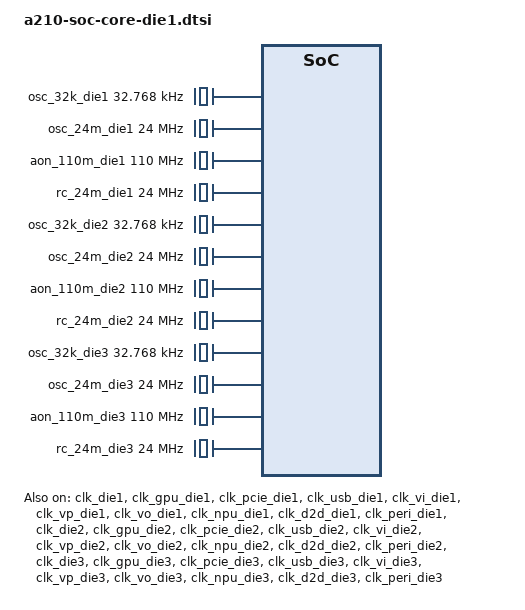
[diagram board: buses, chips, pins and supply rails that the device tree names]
/* SPDX-License-Identifier: GPL-2.0 */
/*
 * Copyright (C) 2021 Alibaba Group Holding Limited.
 */

#include <dt-bindings/thermal/thermal.h>

/ {
	#address-cells = <2>;
	#size-cells = <2>;

	cpus: cpus {
		#address-cells = <1>;
		#size-cells = <0>;
		timebase-frequency = <24000000>; /*24M*/
		c908_8: cpu@8 {
			status = "okay";
			device_type = "cpu";
			reg = <8>;
			compatible = "riscv";
			riscv,isa-base = "rv64i";
			riscv,isa-extensions = "i", "m", "a", "f", "d", "c", "v", "svpbmt", "sscofpmf";
			mmu-type = "riscv,sv39";
			cpu-freq = "2Ghz";
			i-cache-block-size = <64>;
			i-cache-size = <32768>;
			i-cache-sets = <256>;
			d-cache-block-size = <64>;
			d-cache-size = <32768>;
			d-cache-sets = <256>;
			next-level-cache = <&c2_l2_cache>;
			cpu-tlb = "1024 4-ways";
			cpu-vector = "1.0";
			capacity-dmips-mhz = <768>;
			#cooling-cells = <2>;
			numa-node-id = <1>;
			cpu8_intc: interrupt-controller {
				#interrupt-cells = <1>;
				compatible = "riscv,cpu-intc";
				interrupt-controller;
			};
		};
		c908_9: cpu@9 {
			status = "okay";
			device_type = "cpu";
			reg = <9>;
			compatible = "riscv";
			riscv,isa-base = "rv64i";
			riscv,isa-extensions = "i", "m", "a", "f", "d", "c", "v", "svpbmt", "sscofpmf";
			mmu-type = "riscv,sv39";
			cpu-freq = "2Ghz";
			i-cache-block-size = <64>;
			i-cache-size = <32768>;
			i-cache-sets = <256>;
			d-cache-block-size = <64>;
			d-cache-size = <32768>;
			d-cache-sets = <256>;
			next-level-cache = <&c2_l2_cache>;
			cpu-tlb = "1024 4-ways";
			cpu-vector = "1.0";
			capacity-dmips-mhz = <768>;
			#cooling-cells = <2>;
			numa-node-id = <1>;
			cpu9_intc: interrupt-controller {
				#interrupt-cells = <1>;
				compatible = "riscv,cpu-intc";
				interrupt-controller;
			};
		};
		c908_10: cpu@10 {
			status = "okay";
			device_type = "cpu";
			reg = <10>;
			compatible = "riscv";
			riscv,isa-base = "rv64i";
			riscv,isa-extensions = "i", "m", "a", "f", "d", "c", "v", "svpbmt", "sscofpmf";
			mmu-type = "riscv,sv39";
			cpu-freq = "2Ghz";
			i-cache-block-size = <64>;
			i-cache-size = <32768>;
			i-cache-sets = <256>;
			d-cache-block-size = <64>;
			d-cache-size = <32768>;
			d-cache-sets = <256>;
			next-level-cache = <&c2_l2_cache>;
			cpu-tlb = "1024 4-ways";
			cpu-vector = "1.0";
			capacity-dmips-mhz = <768>;
			#cooling-cells = <2>;
			numa-node-id = <1>;
			cpu10_intc: interrupt-controller {
				#interrupt-cells = <1>;
				compatible = "riscv,cpu-intc";
				interrupt-controller;
			};
		};
		c908_11: cpu@11 {
			status = "okay";
			device_type = "cpu";
			reg = <11>;
			compatible = "riscv";
			riscv,isa-base = "rv64i";
			riscv,isa-extensions = "i", "m", "a", "f", "d", "c", "v", "svpbmt", "sscofpmf";
			mmu-type = "riscv,sv39";
			cpu-freq = "2Ghz";
			i-cache-block-size = <64>;
			i-cache-size = <32768>;
			i-cache-sets = <256>;
			d-cache-block-size = <64>;
			d-cache-size = <32768>;
			d-cache-sets = <256>;
			next-level-cache = <&c2_l2_cache>;
			cpu-l2cache = "512KB";
			cpu-tlb = "1024 4-ways";
			cpu-vector = "1.0";
			capacity-dmips-mhz = <768>;
			#cooling-cells = <2>;
			numa-node-id = <1>;
			cpu11_intc: interrupt-controller {
				#interrupt-cells = <1>;
				compatible = "riscv,cpu-intc";
				interrupt-controller;
			};
		};

		c920_12: cpu@12 {
			status = "okay";
			device_type = "cpu";
			reg = <12>;
			compatible = "riscv";
			riscv,isa-base = "rv64i";
			riscv,isa-extensions = "i", "m", "a", "f", "d", "c", "v", "svpbmt", "sscofpmf";
			mmu-type = "riscv,sv39";
			cpu-freq = "2.6Ghz";
			cpu-l2cache = "512KB";
			i-cache-block-size = <64>;
			i-cache-size = <65536>;
			i-cache-sets = <512>;
			d-cache-block-size = <64>;
			d-cache-size = <65536>;
			d-cache-sets = <512>;
			next-level-cache = <&c3_l2_cache>;
			cpu-tlb = "1024 4-ways";
			cpu-vector = "1.0";
			capacity-dmips-mhz = <1024>;
			#cooling-cells = <2>;
			numa-node-id = <1>;
			cpu12_intc: interrupt-controller {
				#interrupt-cells = <1>;
				compatible = "riscv,cpu-intc";
				interrupt-controller;
			};
		};
		c920_13: cpu@13 {
			status = "okay";
			device_type = "cpu";
			reg = <13>;
			compatible = "riscv";
			riscv,isa-base = "rv64i";
			riscv,isa-extensions = "i", "m", "a", "f", "d", "c", "v", "svpbmt", "sscofpmf";
			mmu-type = "riscv,sv39";
			cpu-freq = "2.6Ghz";
			i-cache-block-size = <64>;
			i-cache-size = <65536>;
			i-cache-sets = <512>;
			d-cache-block-size = <64>;
			d-cache-size = <65536>;
			d-cache-sets = <512>;
			next-level-cache = <&c3_l2_cache>;
			cpu-tlb = "1024 4-ways";
			cpu-vector = "1.0";
			capacity-dmips-mhz = <1024>;
			#cooling-cells = <2>;
			numa-node-id = <1>;
			cpu13_intc: interrupt-controller {
				#interrupt-cells = <1>;
				compatible = "riscv,cpu-intc";
				interrupt-controller;
			};
		};
		c920_14: cpu@14 {
			status = "okay";
			device_type = "cpu";
			reg = <14>;
			compatible = "riscv";
			riscv,isa-base = "rv64i";
			riscv,isa-extensions = "i", "m", "a", "f", "d", "c", "v", "svpbmt", "sscofpmf";
			mmu-type = "riscv,sv39";
			cpu-freq = "2.6Ghz";
			i-cache-block-size = <64>;
			i-cache-size = <65536>;
			i-cache-sets = <512>;
			d-cache-block-size = <64>;
			d-cache-size = <65536>;
			d-cache-sets = <512>;
			next-level-cache = <&c3_l2_cache>;
			cpu-tlb = "1024 4-ways";
			cpu-vector = "1.0";
			capacity-dmips-mhz = <1024>;
			#cooling-cells = <2>;
			numa-node-id = <1>;
			cpu14_intc: interrupt-controller {
				#interrupt-cells = <1>;
				compatible = "riscv,cpu-intc";
				interrupt-controller;
			};
		};
		c920_15: cpu@15 {
			status = "okay";
			device_type = "cpu";
			reg = <15>;
			compatible = "riscv";
			riscv,isa-base = "rv64i";
			riscv,isa-extensions = "i", "m", "a", "f", "d", "c", "v", "svpbmt", "sscofpmf";
			mmu-type = "riscv,sv39";
			cpu-freq = "2.6Ghz";
			i-cache-block-size = <64>;
			i-cache-size = <65536>;
			i-cache-sets = <512>;
			d-cache-block-size = <64>;
			d-cache-size = <65536>;
			d-cache-sets = <512>;
			next-level-cache = <&c3_l2_cache>;
			cpu-tlb = "1024 4-ways";
			cpu-vector = "1.0";
			capacity-dmips-mhz = <1024>;
			#cooling-cells = <2>;
			numa-node-id = <1>;
			cpu15_intc: interrupt-controller {
				#interrupt-cells = <1>;
				compatible = "riscv,cpu-intc";
				interrupt-controller;
			};
		};

		c2_l2_cache: c2_l2-cache {
			compatible = "cache";
			cache-block-size = <64>;
			cache-level = <2>;
			cache-size = <524288>;
			cache-sets = <512>;
			cache-unified;
		};
		c3_l2_cache: c3_l2-cache {
			compatible = "cache";
			cache-block-size = <64>;
			cache-level = <2>;
			cache-size = <1048576>;
			cache-sets = <1024>;
			cache-unified;
		};

		cpu-map {
			cluster2 {
				core0 {
					cpu = <&c908_8>;
				};

				core1 {
					cpu = <&c908_9>;
				};

				core2 {
					cpu = <&c908_10>;
				};

				core3 {
					cpu = <&c908_11>;
				};
			};
			cluster3 {
				core0 {
					cpu = <&c920_12>;
				};

				core1 {
					cpu = <&c920_13>;
				};

				core2 {
					cpu = <&c920_14>;
				};

				core3 {
					cpu = <&c920_15>;
				};
			};
		};
	};

	soc {
		compatible = "simple-bus";
		#address-cells = <2>;
		#size-cells = <2>;
		ranges;

		/* OPENSBI */
		reset: reset-sample {
			compatible = "zhihe,reset-sample";
			reg = <0x00 0x00 0x00 0x00>;
			plic-delegate = <0x00 0x181ffffc>; /* PLIC_CTRL */
			plic1-delegate = <0x00 0x1a1ffffc>; /* PLIC_CTRL */
			entry-reg = <0x00 0x10148040 0x00 0x10148060 0x20 0x10148040 0x20 0x10148060>;	/* SYSREG set rst boot address*/
			entry-cnt = <4 4 4 4>;								/* The number of CPUs in each cluster */
			control-reg = <0x00 0x10144004 0x00 0x10144008 0x20 0x10144004 0x20 0x10144008 >;/* SWRST C908 C920*/
			control-val = <0x1f 0x1f 0x1f 0x1f>;	/* bit0:clust, bit1~4:core0~core3 */

			d2d-info = <&d2d>;
		};

		clint0: clint@001c000000 {
			compatible = "riscv,clint0";
			interrupts-extended = <
				&cpu0_intc  3 &cpu0_intc  7
				&cpu1_intc  3 &cpu1_intc  7
				&cpu2_intc  3 &cpu2_intc  7
				&cpu3_intc  3 &cpu3_intc  7
				&cpu4_intc  3 &cpu4_intc  7
				&cpu5_intc  3 &cpu5_intc  7
				&cpu6_intc  3 &cpu6_intc  7
				&cpu7_intc  3 &cpu7_intc  7
				&cpu8_intc  3 &cpu8_intc  7
				&cpu9_intc  3 &cpu9_intc  7
				&cpu10_intc  3 &cpu10_intc  7
				&cpu11_intc  3 &cpu11_intc  7
				&cpu12_intc  3 &cpu12_intc  7
				&cpu13_intc  3 &cpu13_intc  7
				&cpu14_intc  3 &cpu14_intc  7
				&cpu15_intc  3 &cpu15_intc  7
			>;
			reg = <0x00 0x1c000000 0x0 0x0000d000>;
			clint,has-no-64bit-mmio;
		};

		intc_die1: interrupt-controller1@001a000000 {
			#interrupt-cells = <1>;
			compatible = "riscv,plic1";
			interrupt-controller;
			interrupts-extended = <
				&cpu8_intc 0xffffffff &cpu8_intc 9
				&cpu9_intc 0xffffffff &cpu9_intc 9
				&cpu10_intc 0xffffffff &cpu10_intc 9
				&cpu11_intc 0xffffffff &cpu11_intc 9
				&cpu12_intc 0xffffffff &cpu12_intc 9
				&cpu13_intc 0xffffffff &cpu13_intc 9
				&cpu14_intc 0xffffffff &cpu14_intc 9
				&cpu15_intc 0xffffffff &cpu15_intc 9
			>;
			reg = <0x00 0x1a000000 0x0 0x02000000>;
			reg-names = "control";
			riscv,max-priority = <7>;
			riscv,ndev = <351>;
		};

		clocks1 {
			compatible = "simple-bus";
			#address-cells = <1>;
			#size-cells = <0>;

			osc_32k_die1: clock-osc-32k {
				compatible = "fixed-clock";
				clock-frequency = <32768>;
				clock-output-names = "osc_32k_die1";
				#clock-cells = <0>;
			};

			osc_24m_die1: clock-osc-24m {
				compatible = "fixed-clock";
				clock-frequency = <24000000>;
				clock-output-names = "osc_24m_die1";
				#clock-cells = <0>;
			};

			aon_110m_die1: clock-osc-110m {
				compatible = "fixed-clock";
				clock-frequency = <110000000>;
				clock-output-names = "aon_110m_die1";
				#clock-cells = <0>;
			};

			rc_24m_die1: clock-rc-24m {
				compatible = "fixed-clock";
				clock-frequency = <24000000>;
				clock-output-names = "rc_24m_die1";
				#clock-cells = <0>;
			};

			apb_clk_die1: apb-clk-clock {
				compatible = "fixed-clock";
				clock-frequency = <62500000>;
				clock-output-names = "apb_clk_die1";
				#clock-cells = <0>;
			};
		};

		clk_die1: clock-controller@10 {
			compatible = "zhihe,a210-clk-die1";
			reg = <0x20 0x00260000 0x0 0x1000>,<0x20 0x00250000 0x0 0x1000>,
			      <0x20 0x10141600 0x0 0x100>,<0x20 0x10141400 0x0 0x100>,
			      <0x20 0x04810000 0x0 0x1000>,<0x20 0x05810000 0x0 0x1000>,
			      <0x20 0x04900000 0x0 0x1000>,<0x20 0x20250000 0x0 0x1000>,
			      <0x20 0x10140000 0x0 0xE00>;
			reg-names = "PLL_WRAP","TOP_CRG","CPU_SS_CLK_SYSREG","CPU_SS_CPU_PLL",
			"DDR0_SYSREG","DDR1_SYSREG","SLC_DUAL_SYSREG","TOP_CRG_T","CPU_SS_CCU";
			#clock-cells = <1>;
			clocks = <&osc_32k_die1>, <&osc_24m_die1>, <&rc_24m_die1>;
			clock-names = "osc_32k", "osc_24m", "rc_24m";
			assigned-clocks = <&clk_die1 AUDIO0_PLL_FOUTVCO>, <&clk_die1 AUDIO1_PLL_FOUTVCO>,
					  <&clk_die1 VIDEO_PLL_FOUTVCO>, <&clk_die1 GMAC_PLL_FOUTVCO>,
					  <&clk_die1 DVFS_PLL_FOUTVCO>, <&clk_die1 DPU0_PLL_FOUTVCO>,
					  <&clk_die1 DPU1_PLL_FOUTVCO>, <&clk_die1 DPU2_PLL_FOUTVCO>,
					  <&clk_die1 TOP_CFG_ACLK_DIV>, <&clk_die1 TOP_PCLK_DIV>,
					  <&clk_die1 SW_AMUX_660_CLK_EN>, <&clk_die1 SW_IOMMU_PTW_330_ACLK_EN>,
					  <&clk_die1 SW_NOC_CCLK_EN>, <&clk_die1 TOP_CPUSYS_BUS_CLK_DIV>,
					  <&clk_die1 TOP_CPUSYS_PIC_CLK_DIV>;
			assigned-clock-rates = <2359296000>, <2528870400>, /* audio0_pll_foutvco,audio1_pll_foutvco */
					       <2640000000>, <3000000000>, /* video_pll_foutvco,gmac_pll_foutvco */
					       <1920000000>, <2376000000>, /* dvfs_pll_foutvco,dpu0_pll_foutvco */
					       <2376000000>, <2376000000>, /* dpu1_pll_foutvco,dpu2_pll_foutvco */
					       <330000000>, <165000000>, /* top_cfg_aclk,top_pclk */
					       <660000000>, <330000000>, /* top_amux_clk,iommu_ptw_aclk */
					       <950000000>, <1320000000>, /* noc_cclk,top_cpusys_bus_clk */
					       <1000000000>; /* top_cpusys_pic_clk */
			status = "okay";
		};
		clk_gpu_die1: clock-controller@11 {
			compatible = "zhihe,a210-gpu-clk-die1";
			reg = <0x20 0x06D02200 0x0 0x200>, <0x20 0x06E06200 0x0 0x200>;
			reg-names = "GPU_SS_PWRAP_CLK_EN","GPU_SS_TOP_CLK_EN";
			#clock-cells = <1>;
			assigned-clocks = <&clk_die1 TOP_GPU_CORE_CLK_DIV>;
			assigned-clock-rates = <792000000>;
			status = "okay";
		};

		clk_pcie_die1: clock-controller@12 {
			compatible = "zhihe,a210-pcie-clk-die1";
			reg = <0x20 0x0a000000 0x0 0x28>;
			reg-names = "PCIE_CLK_EN";
			#clock-cells = <1>;
			assigned-clocks = <&clk_die1 TOP_PCIE_SCAN_REF_CLK0_DIV>, <&clk_die1 TOP_PCIE_SCAN_REF_CLK1_DIV>,
					  <&clk_die1 TOP_PCIE_AXI_M_ACLK_DIV>;
			assigned-clock-rates = <396000000>, <1000000000>,
					       <786432000>;
			status = "okay";
		};

		clk_usb_die1: clock-controller@13 {
			compatible = "zhihe,a210-usb-clk-die1";
			reg = <0x20 0x08000000 0x0 0x24>;
			reg-names = "USB_CLK_EN";
			#clock-cells = <1>;
			assigned-clocks = <&clk_die1 TOP_USB_USB20_SCAN_REF_CLK_DIV>, <&clk_die1 TOP_USB_SCAN_REF_CLK3_DIV>,
					  <&clk_die1 TOP_USB_SCAN_REF_CLK2_DIV>, <&clk_die1 TOP_USB_SCAN_REF_CLK1_DIV>,
					  <&clk_die1 TOP_USB_SCAN_REF_CLK0_DIV>, <&clk_die1 TOP_USB_BUS_ACLK_DIV>,
					  <&clk_die1 TOP_USB_DP_AUX_CLK_DIV>;
			assigned-clock-rates = <475200000>, <792000000>,
					       <600000000>, <500000000>,
					       <396000000>, <330000000>,
					       <16000000>;
			status = "okay";
		};

		clk_vi_die1: clock-controller@14 {
			compatible = "zhihe,a210-vi-clk-die1";
			reg = <0x20 0x063a0200 0x0 0x200>;
			reg-names = "VI_CLK";
			#clock-cells = <1>;
			status = "okay";
		};

		clk_vp_die1: clock-controller@15 {
			compatible = "zhihe,a210-vp-clk-die1";
			reg = <0x20 0x06b20200 0x0 0x200>;
			reg-names = "VP_CLK";
			#clock-cells = <1>;
			assigned-clocks = <&clk_die1 TOP_VP_ACLK_DIV>, <&clk_die1 TOP_VP_VDEC_CCLK_DIV>,
				 	  <&clk_die1 TOP_VP_VENC_CCLK_DIV>, <&clk_die1 TOP_VP_G2D_CCLK_DIV>;
			assigned-clock-rates = <880000000>, <786432000>,
					       <600000000>, <786432000>;
			status = "okay";
		};

		clk_vo_die1: clock-controller@16 {
			compatible = "zhihe,a210-vo-clk-die1";
			reg = <0x20 0x06720048 0x0 0x4>, <0x20 0x06720200 0x0 0xc>;
			reg-names = "VO_PATH_CTRL","VO_CLK";
			#clock-cells = <1>;
			assigned-clocks = <&clk_vo_die1 VO_DPUC_CLK_EN>, <&clk_vo_die1 VO_CH0_PIXCLK_EN>,
					  <&clk_vo_die1 VO_CH1_PIXCLK_EN>, <&clk_vo_die1 VO_CH2_PIXCLK_EN>,
					  <&clk_vo_die1 VO_DPU_ACLK_EN>, <&clk_vo_die1 VO_HDMI_PCLK_EN>,
					  <&clk_vo_die1 VO_DECOMP0_CLK_EN>, <&clk_vo_die1 VO_DECOMP1_CLK_EN>;
			assigned-clock-rates = <880000000>, <594000000>,
					       <594000000>, <594000000>,
					       <880000000>, <165000000>,
					       <220000000>, <220000000>;
			status = "okay";
		};

		clk_npu_die1: clock-controller@17 {
			compatible = "zhihe,a210-npu-clk-die1";
			reg = <0x20 0x07112210 0x0 0x4>,<0x20 0x07301050 0x0 0x4>;
			reg-names = "NPU_CLK","NPU_TOP_CLK";
			#clock-cells = <1>;
			assigned-clocks = <&clk_die1 TOP_NPU_CCLK_DIV>, <&clk_die1 TOP_NPU_ACLK_DIV>;
			assigned-clock-rates = <880000000>, <880000000>;
			status = "okay";
		};

		clk_d2d_die1: clock-controller@18 {
			compatible = "zhihe,a210-d2d-clk-die1";
			reg = <0x20 0x09010000 0x0 0x4>;
			reg-names = "D2D_CRG_REG";
			#clock-cells = <1>;
			assigned-clocks = <&clk_die1 TOP_D2D_ACLK_DIV>, <&clk_die1 TOP_D2D_REF_CLK_MUX>;
			assigned-clock-rates = <950000000>, <100000000>;
			status = "okay";
		};

		clk_peri_die1: clock-controller@19 {
			compatible = "zhihe,a210-peri-clk-die1";
			reg = <0x20 0x00300200 0x0 0x4>,
			      <0x20 0x02010200 0x0 0x8>,<0x20 0x08400200 0x0 0x8>,
			      <0x20 0x00540200 0x0 0x4>,<0x20 0x27420200 0x0 0x200>;
			reg-names = "PERI0_SYSREG","PERI1_SYSREG","PERI2_SYSREG",
			"PERI3_SYSREG","TEE_CRG";
			#clock-cells = <1>;
			assigned-clocks = <&clk_die1 TOP_PERI_TIMER_CLK_MUX>, <&clk_die1 TOP_PERI_I2S_2CH0_SRC_CLK_MUX>,
					  <&clk_die1 TOP_PERI_I2S_2CH1_SRC_CLK_MUX>, <&clk_die1 TOP_PERI_I2S_2CH2_SRC_CLK_MUX>,
					  <&clk_die1 TOP_PERI_I2S_8CH0_SRC_CLK_MUX>, <&clk_die1 TOP_PERI_SPI_SSI_CLK0_DIV>,
					  <&clk_die1 TOP_PERI_SPI_SSI_CLK1_DIV>, <&clk_die1 TOP_PERI_QSPI_SSI_CLK_MUX0>,
					  <&clk_die1 TOP_PERI_QSPI_SSI_CLK_MUX1>, <&clk_die1 TOP_PERI_PDM_MCLK_DIV>,
					  <&clk_die1 TOP_PERI_TDM_SRC_CLK_MUX>, <&clk_die1 TOP_PAD_SENSOR_VCLK0_DIV>,
					  <&clk_die1 TOP_PAD_SENSOR_VCLK1_DIV>, <&clk_die1 TOP_PERI_HIRES_CLK0_DIV>,
					  <&clk_die1 TOP_PERI_HIRES_CLK1_DIV>, <&clk_die1 TOP_PERI_EMMC_REF_CLK_DIV>,
					  <&clk_die1 TOP_PERI_MST_ACLK0_DIV>, <&clk_die1 TOP_PERI_MST_CLK1_DIV>,
					  <&clk_die1 TOP_TEE_CLK_DIV>;
			assigned-clock-rates = <24000000>, <316108800>, /* peri0_timer_clk,peri1_i2s0_src_clk */
					       <316108800>, <316108800>, /* peri2_i2s1_src_clk,peri2_i2s2_src_clk */
					       <316108800>, <421478400>, /* peri2_i2s3_src_clk,peri1_spi_ssi_clk */
					       <421478400>, <421478400>, /* peri2_spi_ssi_clk,peri1_qspi_ssi_clk */
					       <421478400>, <31610880>, /* peri2_qspi_ssi_clk,peri1_pdm_mclk */
					       <316108800>, <74250000>, /* peri1_tdm_src_clk,top_pad_sensor_vclk0_div */
					       <148500000>, <80000000>, /* top_pad_sensor_vclk1,peri1_hires_clk */
					       <80000000>, <786432000>, /* peri2_hires_clk,emmc_ref_clk */
					       <330000000>, <440000000>, /* peri1_mst_aclk,peri3_mst_aclk */
					       <377142858>; /* tee_clk */
			status = "okay";
		};

		clocks2 {
			compatible = "simple-bus";
			#address-cells = <1>;
			#size-cells = <0>;

			osc_32k_die2: clock-osc-32k {
				compatible = "fixed-clock";
				clock-frequency = <32768>;
				clock-output-names = "osc_32k_die2";
				#clock-cells = <0>;
			};

			osc_24m_die2: clock-osc-24m {
				compatible = "fixed-clock";
				clock-frequency = <24000000>;
				clock-output-names = "osc_24m_die2";
				#clock-cells = <0>;
			};

			aon_110m_die2: clock-osc-110m {
				compatible = "fixed-clock";
				clock-frequency = <110000000>;
				clock-output-names = "aon_110m_die2";
				#clock-cells = <0>;
			};

			rc_24m_die2: clock-rc-24m {
				compatible = "fixed-clock";
				clock-frequency = <24000000>;
				clock-output-names = "rc_24m_die2";
				#clock-cells = <0>;
			};

			apb_clk_die2: apb-clk-clock {
				compatible = "fixed-clock";
				clock-frequency = <62500000>;
				clock-output-names = "apb_clk_die2";
				#clock-cells = <0>;
			};
		};

		clk_die2: clock-controller@20 {
			compatible = "zhihe,a210-clk-die2";
			reg = <0x40 0x00260000 0x0 0x1000>,<0x40 0x00250000 0x0 0x1000>,
			      <0x40 0x10141600 0x0 0x100>,<0x40 0x10141400 0x0 0x100>,
			      <0x40 0x04810000 0x0 0x1000>,<0x40 0x05810000 0x0 0x1000>,
			      <0x40 0x04900000 0x0 0x1000>,<0x40 0x20250000 0x0 0x1000>,
			      <0x40 0x10140000 0x0 0xE00>;
			reg-names = "PLL_WRAP","TOP_CRG","CPU_SS_CLK_SYSREG","CPU_SS_CPU_PLL",
			"DDR0_SYSREG","DDR1_SYSREG","SLC_DUAL_SYSREG","TOP_CRG_T","CPU_SS_CCU";
			#clock-cells = <1>;
			clocks = <&osc_32k_die2>, <&osc_24m_die2>, <&rc_24m_die2>;
			clock-names = "osc_32k", "osc_24m", "rc_24m";
			assigned-clocks = <&clk_die2 AUDIO0_PLL_FOUTVCO>, <&clk_die2 AUDIO1_PLL_FOUTVCO>,
					  <&clk_die2 VIDEO_PLL_FOUTVCO>, <&clk_die2 GMAC_PLL_FOUTVCO>,
					  <&clk_die2 DVFS_PLL_FOUTVCO>, <&clk_die2 DPU0_PLL_FOUTVCO>,
					  <&clk_die2 DPU1_PLL_FOUTVCO>, <&clk_die2 DPU2_PLL_FOUTVCO>,
					  <&clk_die2 TOP_CFG_ACLK_DIV>, <&clk_die2 TOP_PCLK_DIV>,
					  <&clk_die2 SW_AMUX_660_CLK_EN>, <&clk_die2 SW_IOMMU_PTW_330_ACLK_EN>,
					  <&clk_die2 SW_NOC_CCLK_EN>, <&clk_die2 TOP_CPUSYS_BUS_CLK_DIV>,
					  <&clk_die2 TOP_CPUSYS_PIC_CLK_DIV>;
			assigned-clock-rates = <2359296000>, <2528870400>, /* audio0_pll_foutvco,audio1_pll_foutvco */
					       <2640000000>, <3000000000>, /* video_pll_foutvco,gmac_pll_foutvco */
					       <1920000000>, <2376000000>, /* dvfs_pll_foutvco,dpu0_pll_foutvco */
					       <2376000000>, <2376000000>, /* dpu1_pll_foutvco,dpu2_pll_foutvco */
					       <330000000>, <165000000>, /* top_cfg_aclk,top_pclk */
					       <660000000>, <330000000>, /* top_amux_clk,iommu_ptw_aclk */
					       <950000000>, <1320000000>, /* noc_cclk,top_cpusys_bus_clk */
					       <1000000000>; /* top_cpusys_pic_clk */
			status = "okay";
		};
		clk_gpu_die2: clock-controller@21 {
			compatible = "zhihe,a210-gpu-clk-die2";
			reg = <0x40 0x06D02200 0x0 0x200>, <0x40 0x06E06200 0x0 0x200>;
			reg-names = "GPU_SS_PWRAP_CLK_EN","GPU_SS_TOP_CLK_EN";
			#clock-cells = <1>;
			assigned-clocks = <&clk_die2 TOP_GPU_CORE_CLK_DIV>;
			assigned-clock-rates = <792000000>;
			status = "okay";
		};

		clk_pcie_die2: clock-controller@22 {
			compatible = "zhihe,a210-pcie-clk-die2";
			reg = <0x40 0x0a000000 0x0 0x28>;
			reg-names = "PCIE_CLK_EN";
			#clock-cells = <1>;
			assigned-clocks = <&clk_die2 TOP_PCIE_SCAN_REF_CLK0_DIV>, <&clk_die2 TOP_PCIE_SCAN_REF_CLK1_DIV>,
					  <&clk_die2 TOP_PCIE_AXI_M_ACLK_DIV>;
			assigned-clock-rates = <396000000>, <1000000000>,
					       <786432000>;
			status = "okay";
		};

		clk_usb_die2: clock-controller@23 {
			compatible = "zhihe,a210-usb-clk-die2";
			reg = <0x40 0x08000000 0x0 0x24>;
			reg-names = "USB_CLK_EN";
			#clock-cells = <1>;
			assigned-clocks = <&clk_die2 TOP_USB_USB20_SCAN_REF_CLK_DIV>, <&clk_die2 TOP_USB_SCAN_REF_CLK3_DIV>,
					  <&clk_die2 TOP_USB_SCAN_REF_CLK2_DIV>, <&clk_die2 TOP_USB_SCAN_REF_CLK1_DIV>,
					  <&clk_die2 TOP_USB_SCAN_REF_CLK0_DIV>, <&clk_die2 TOP_USB_BUS_ACLK_DIV>,
					  <&clk_die2 TOP_USB_DP_AUX_CLK_DIV>;
			assigned-clock-rates = <475200000>, <792000000>,
					       <600000000>, <500000000>,
					       <396000000>, <330000000>,
					       <16000000>;
			status = "okay";
		};

		clk_vi_die2: clock-controller@24 {
			compatible = "zhihe,a210-vi-clk-die2";
			reg = <0x40 0x063a0200 0x0 0x200>;
			reg-names = "VI_CLK";
			#clock-cells = <1>;
			status = "okay";
		};

		clk_vp_die2: clock-controller@25 {
			compatible = "zhihe,a210-vp-clk-die2";
			reg = <0x40 0x06b20200 0x0 0x200>;
			reg-names = "VP_CLK";
			#clock-cells = <1>;
			assigned-clocks = <&clk_die2 TOP_VP_ACLK_DIV>, <&clk_die2 TOP_VP_VDEC_CCLK_DIV>,
				 	  <&clk_die2 TOP_VP_VENC_CCLK_DIV>, <&clk_die2 TOP_VP_G2D_CCLK_DIV>;
			assigned-clock-rates = <880000000>, <786432000>,
					       <600000000>, <786432000>;
			status = "okay";
		};

		clk_vo_die2: clock-controller@26 {
			compatible = "zhihe,a210-vo-clk-die2";
			reg = <0x40 0x06720048 0x0 0x4>, <0x40 0x06720200 0x0 0xc>;
			reg-names = "VO_PATH_CTRL","VO_CLK";
			#clock-cells = <1>;
			assigned-clocks = <&clk_vo_die2 VO_DPUC_CLK_EN>, <&clk_vo_die2 VO_CH0_PIXCLK_EN>,
					  <&clk_vo_die2 VO_CH1_PIXCLK_EN>, <&clk_vo_die2 VO_CH2_PIXCLK_EN>,
					  <&clk_vo_die2 VO_DPU_ACLK_EN>, <&clk_vo_die2 VO_HDMI_PCLK_EN>,
					  <&clk_vo_die2 VO_DECOMP0_CLK_EN>, <&clk_vo_die2 VO_DECOMP1_CLK_EN>;
			assigned-clock-rates = <880000000>, <594000000>,
					       <594000000>, <594000000>,
					       <880000000>, <165000000>,
					       <220000000>, <220000000>;
			status = "okay";
		};

		clk_npu_die2: clock-controller@27 {
			compatible = "zhihe,a210-npu-clk-die2";
			reg = <0x40 0x07112210 0x0 0x4>,<0x40 0x07301050 0x0 0x4>;
			reg-names = "NPU_CLK","NPU_TOP_CLK";
			#clock-cells = <1>;
			assigned-clocks = <&clk_die2 TOP_NPU_CCLK_DIV>, <&clk_die2 TOP_NPU_ACLK_DIV>;
			assigned-clock-rates = <880000000>, <880000000>;
			status = "okay";
		};

		clk_d2d_die2: clock-controller@28 {
			compatible = "zhihe,a210-d2d-clk-die2";
			reg = <0x40 0x09010000 0x0 0x4>;
			reg-names = "D2D_CRG_REG";
			#clock-cells = <1>;
			assigned-clocks = <&clk_die2 TOP_D2D_ACLK_DIV>, <&clk_die2 TOP_D2D_REF_CLK_MUX>;
			assigned-clock-rates = <950000000>, <100000000>;
			status = "okay";
		};

		clk_peri_die2: clock-controller@29 {
			compatible = "zhihe,a210-peri-clk-die2";
			reg = <0x40 0x00300200 0x0 0x4>,
			      <0x40 0x02010200 0x0 0x8>,<0x40 0x08400200 0x0 0x8>,
			      <0x40 0x00540200 0x0 0x4>,<0x40 0x27420200 0x0 0x200>;
			reg-names = "PERI0_SYSREG","PERI1_SYSREG","PERI2_SYSREG",
			"PERI3_SYSREG","TEE_CRG";
			#clock-cells = <1>;
			assigned-clocks = <&clk_die2 TOP_PERI_TIMER_CLK_MUX>, <&clk_die2 TOP_PERI_I2S_2CH0_SRC_CLK_MUX>,
					  <&clk_die2 TOP_PERI_I2S_2CH1_SRC_CLK_MUX>, <&clk_die2 TOP_PERI_I2S_2CH2_SRC_CLK_MUX>,
					  <&clk_die2 TOP_PERI_I2S_8CH0_SRC_CLK_MUX>, <&clk_die2 TOP_PERI_SPI_SSI_CLK0_DIV>,
					  <&clk_die2 TOP_PERI_SPI_SSI_CLK1_DIV>, <&clk_die2 TOP_PERI_QSPI_SSI_CLK_MUX0>,
					  <&clk_die2 TOP_PERI_QSPI_SSI_CLK_MUX1>, <&clk_die2 TOP_PERI_PDM_MCLK_DIV>,
					  <&clk_die2 TOP_PERI_TDM_SRC_CLK_MUX>, <&clk_die2 TOP_PAD_SENSOR_VCLK0_DIV>,
					  <&clk_die2 TOP_PAD_SENSOR_VCLK1_DIV>, <&clk_die2 TOP_PERI_HIRES_CLK0_DIV>,
					  <&clk_die2 TOP_PERI_HIRES_CLK1_DIV>, <&clk_die2 TOP_TEE_CLK_DIV>,
					  <&clk_die2 TOP_PERI_EMMC_REF_CLK_DIV>, <&clk_die2 TOP_PERI_MST_ACLK0_DIV>,
					  <&clk_die2 TOP_PERI_MST_CLK1_DIV>;
			assigned-clock-rates = <24000000>, <316108800>, /* peri0_timer_clk,peri1_i2s0_src_clk */
					       <316108800>, <316108800>, /* peri2_i2s1_src_clk,peri2_i2s2_src_clk */
					       <316108800>, <421478400>, /* peri2_i2s3_src_clk,peri1_spi_ssi_clk */
					       <421478400>, <421478400>, /* peri2_spi_ssi_clk,peri1_qspi_ssi_clk */
					       <421478400>, <31610880>, /* peri2_qspi_ssi_clk,peri1_pdm_mclk */
					       <316108800>, <74250000>, /* peri1_tdm_src_clk,top_pad_sensor_vclk0_div */
					       <148500000>, <80000000>, /* top_pad_sensor_vclk1,peri1_hires_clk */
					       <80000000>, <786432000>, /* peri2_hires_clk,emmc_ref_clk */
					       <330000000>, <440000000>, /* peri1_mst_aclk,peri3_mst_aclk */
					       <377142858>; /* tee_clk */
			status = "okay";
		};

		clocks3 {
			compatible = "simple-bus";
			#address-cells = <1>;
			#size-cells = <0>;

			osc_32k_die3: clock-osc-32k {
				compatible = "fixed-clock";
				clock-frequency = <32768>;
				clock-output-names = "osc_32k_die3";
				#clock-cells = <0>;
			};

			osc_24m_die3: clock-osc-24m {
				compatible = "fixed-clock";
				clock-frequency = <24000000>;
				clock-output-names = "osc_24m_die3";
				#clock-cells = <0>;
			};

			aon_110m_die3: clock-osc-110m {
				compatible = "fixed-clock";
				clock-frequency = <110000000>;
				clock-output-names = "aon_110m_die3";
				#clock-cells = <0>;
			};

			rc_24m_die3: clock-rc-24m {
				compatible = "fixed-clock";
				clock-frequency = <24000000>;
				clock-output-names = "rc_24m_die3";
				#clock-cells = <0>;
			};

			apb_clk_die3: apb-clk-clock {
				compatible = "fixed-clock";
				clock-frequency = <62500000>;
				clock-output-names = "apb_clk_die3";
				#clock-cells = <0>;
			};
		};

		clk_die3: clock-controller@30 {
			compatible = "zhihe,a210-clk-die3";
			reg = <0x60 0x00260000 0x0 0x1000>,<0x60 0x00250000 0x0 0x1000>,
			      <0x60 0x10141600 0x0 0x100>,<0x60 0x10141400 0x0 0x100>,
			      <0x60 0x04810000 0x0 0x1000>,<0x60 0x05810000 0x0 0x1000>,
			      <0x60 0x04900000 0x0 0x1000>,<0x60 0x20250000 0x0 0x1000>,
			      <0x60 0x10140000 0x0 0xE00>;
			reg-names = "PLL_WRAP","TOP_CRG","CPU_SS_CLK_SYSREG","CPU_SS_CPU_PLL",
			"DDR0_SYSREG","DDR1_SYSREG","SLC_DUAL_SYSREG","TOP_CRG_T","CPU_SS_CCU";
			#clock-cells = <1>;
			clocks = <&osc_32k_die3>, <&osc_24m_die3>, <&rc_24m_die3>;
			clock-names = "osc_32k", "osc_24m", "rc_24m";
			assigned-clocks = <&clk_die3 AUDIO0_PLL_FOUTVCO>, <&clk_die3 AUDIO1_PLL_FOUTVCO>,
					  <&clk_die3 VIDEO_PLL_FOUTVCO>, <&clk_die3 GMAC_PLL_FOUTVCO>,
					  <&clk_die3 DVFS_PLL_FOUTVCO>, <&clk_die3 DPU0_PLL_FOUTVCO>,
					  <&clk_die3 DPU1_PLL_FOUTVCO>, <&clk_die3 DPU2_PLL_FOUTVCO>,
					  <&clk_die3 TOP_CFG_ACLK_DIV>, <&clk_die3 TOP_PCLK_DIV>,
					  <&clk_die3 SW_AMUX_660_CLK_EN>, <&clk_die3 SW_IOMMU_PTW_330_ACLK_EN>,
					  <&clk_die3 SW_NOC_CCLK_EN>, <&clk_die3 TOP_CPUSYS_BUS_CLK_DIV>,
					  <&clk_die3 TOP_CPUSYS_PIC_CLK_DIV>;
			assigned-clock-rates = <2359296000>, <2528870400>, /* audio0_pll_foutvco,audio1_pll_foutvco */
					       <2640000000>, <3000000000>, /* video_pll_foutvco,gmac_pll_foutvco */
					       <1920000000>, <2376000000>, /* dvfs_pll_foutvco,dpu0_pll_foutvco */
					       <2376000000>, <2376000000>, /* dpu1_pll_foutvco,dpu2_pll_foutvco */
					       <330000000>, <165000000>, /* top_cfg_aclk,top_pclk */
					       <660000000>, <330000000>, /* top_amux_clk,iommu_ptw_aclk */
					       <950000000>, <1320000000>, /* noc_cclk,top_cpusys_bus_clk */
					       <1000000000>; /* top_cpusys_pic_clk */
			status = "okay";
		};
		clk_gpu_die3: clock-controller@31 {
			compatible = "zhihe,a210-gpu-clk-die3";
			reg = <0x60 0x06D02200 0x0 0x200>, <0x60 0x06E06200 0x0 0x200>;
			reg-names = "GPU_SS_PWRAP_CLK_EN","GPU_SS_TOP_CLK_EN";
			#clock-cells = <1>;
			assigned-clocks = <&clk_die3 TOP_GPU_CORE_CLK_DIV>;
			assigned-clock-rates = <792000000>;
			status = "okay";
		};

		clk_pcie_die3: clock-controller@32 {
			compatible = "zhihe,a210-pcie-clk-die3";
			reg = <0x60 0x0a000000 0x0 0x28>;
			reg-names = "PCIE_CLK_EN";
			#clock-cells = <1>;
			assigned-clocks = <&clk_die3 TOP_PCIE_SCAN_REF_CLK0_DIV>, <&clk_die3 TOP_PCIE_SCAN_REF_CLK1_DIV>,
					  <&clk_die3 TOP_PCIE_AXI_M_ACLK_DIV>;
			assigned-clock-rates = <396000000>, <1000000000>,
					       <786432000>;
			status = "okay";
		};

		clk_usb_die3: clock-controller@33 {
			compatible = "zhihe,a210-usb-clk-die3";
			reg = <0x60 0x08000000 0x0 0x24>;
			reg-names = "USB_CLK_EN";
			#clock-cells = <1>;
			assigned-clocks = <&clk_die3 TOP_USB_USB20_SCAN_REF_CLK_DIV>, <&clk_die3 TOP_USB_SCAN_REF_CLK3_DIV>,
					  <&clk_die3 TOP_USB_SCAN_REF_CLK2_DIV>, <&clk_die3 TOP_USB_SCAN_REF_CLK1_DIV>,
					  <&clk_die3 TOP_USB_SCAN_REF_CLK0_DIV>, <&clk_die3 TOP_USB_BUS_ACLK_DIV>,
					  <&clk_die3 TOP_USB_DP_AUX_CLK_DIV>;
			assigned-clock-rates = <475200000>, <792000000>,
					       <600000000>, <500000000>,
					       <396000000>, <330000000>,
					       <16000000>;
			status = "okay";
		};

		clk_vi_die3: clock-controller@34 {
			compatible = "zhihe,a210-vi-clk-die3";
			reg = <0x60 0x063a0200 0x0 0x200>;
			reg-names = "VI_CLK";
			#clock-cells = <1>;
			status = "okay";
		};

		clk_vp_die3: clock-controller@35 {
			compatible = "zhihe,a210-vp-clk-die3";
			reg = <0x60 0x06b20200 0x0 0x200>;
			reg-names = "VP_CLK";
			#clock-cells = <1>;
			assigned-clocks = <&clk_die3 TOP_VP_ACLK_DIV>, <&clk_die3 TOP_VP_VDEC_CCLK_DIV>,
				 	  <&clk_die3 TOP_VP_VENC_CCLK_DIV>, <&clk_die3 TOP_VP_G2D_CCLK_DIV>;
			assigned-clock-rates = <880000000>, <786432000>,
					       <600000000>, <786432000>;
			status = "okay";
		};

		clk_vo_die3: clock-controller@36 {
			compatible = "zhihe,a210-vo-clk-die3";
			reg = <0x60 0x06720048 0x0 0x4>, <0x60 0x06720200 0x0 0xc>;
			reg-names = "VO_PATH_CTRL","VO_CLK";
			#clock-cells = <1>;
			assigned-clocks = <&clk_vo_die3 VO_DPUC_CLK_EN>, <&clk_vo_die3 VO_CH0_PIXCLK_EN>,
					  <&clk_vo_die3 VO_CH1_PIXCLK_EN>, <&clk_vo_die3 VO_CH2_PIXCLK_EN>,
					  <&clk_vo_die3 VO_DPU_ACLK_EN>, <&clk_vo_die3 VO_HDMI_PCLK_EN>,
					  <&clk_vo_die3 VO_DECOMP0_CLK_EN>, <&clk_vo_die3 VO_DECOMP1_CLK_EN>;
			assigned-clock-rates = <880000000>, <594000000>,
					       <594000000>, <594000000>,
					       <880000000>, <165000000>,
					       <220000000>, <220000000>;
			status = "okay";
		};

		clk_npu_die3: clock-controller@37 {
			compatible = "zhihe,a210-npu-clk-die3";
			reg = <0x60 0x07112210 0x0 0x4>,<0x60 0x07301050 0x0 0x4>;
			reg-names = "NPU_CLK","NPU_TOP_CLK";
			#clock-cells = <1>;
			assigned-clocks = <&clk_die3 TOP_NPU_CCLK_DIV>, <&clk_die3 TOP_NPU_ACLK_DIV>;
			assigned-clock-rates = <880000000>, <880000000>;
			status = "okay";
		};

		clk_d2d_die3: clock-controller@38 {
			compatible = "zhihe,a210-d2d-clk-die3";
			reg = <0x60 0x09010000 0x0 0x4>;
			reg-names = "D2D_CRG_REG";
			#clock-cells = <1>;
			assigned-clocks = <&clk_die3 TOP_D2D_ACLK_DIV>, <&clk_die3 TOP_D2D_REF_CLK_MUX>;
			assigned-clock-rates = <950000000>, <100000000>;
			status = "okay";
		};

		clk_peri_die3: clock-controller@39 {
			compatible = "zhihe,a210-peri-clk-die3";
			reg = <0x60 0x00300200 0x0 0x4>,
			      <0x60 0x02010200 0x0 0x8>,<0x60 0x08400200 0x0 0x8>,
			      <0x60 0x00540200 0x0 0x4>,<0x60 0x27420200 0x0 0x200>;
			reg-names = "PERI0_SYSREG","PERI1_SYSREG","PERI2_SYSREG",
			"PERI3_SYSREG","TEE_CRG";
			#clock-cells = <1>;
			assigned-clocks = <&clk_die3 TOP_PERI_TIMER_CLK_MUX>, <&clk_die3 TOP_PERI_I2S_2CH0_SRC_CLK_MUX>,
					  <&clk_die3 TOP_PERI_I2S_2CH1_SRC_CLK_MUX>, <&clk_die3 TOP_PERI_I2S_2CH2_SRC_CLK_MUX>,
					  <&clk_die3 TOP_PERI_I2S_8CH0_SRC_CLK_MUX>, <&clk_die3 TOP_PERI_SPI_SSI_CLK0_DIV>,
					  <&clk_die3 TOP_PERI_SPI_SSI_CLK1_DIV>, <&clk_die3 TOP_PERI_QSPI_SSI_CLK_MUX0>,
					  <&clk_die3 TOP_PERI_QSPI_SSI_CLK_MUX1>, <&clk_die3 TOP_PERI_PDM_MCLK_DIV>,
					  <&clk_die3 TOP_PERI_TDM_SRC_CLK_MUX>, <&clk_die3 TOP_PAD_SENSOR_VCLK0_DIV>,
					  <&clk_die3 TOP_PAD_SENSOR_VCLK1_DIV>, <&clk_die3 TOP_PERI_HIRES_CLK0_DIV>,
					  <&clk_die3 TOP_PERI_HIRES_CLK1_DIV>, <&clk_die3 TOP_TEE_CLK_DIV>,
					  <&clk_die3 TOP_PERI_EMMC_REF_CLK_DIV>, <&clk_die3 TOP_PERI_MST_ACLK0_DIV>,
					  <&clk_die3 TOP_PERI_MST_CLK1_DIV>;
			assigned-clock-rates = <24000000>, <316108800>, /* peri0_timer_clk,peri1_i2s0_src_clk */
					       <316108800>, <316108800>, /* peri2_i2s1_src_clk,peri2_i2s2_src_clk */
					       <316108800>, <421478400>, /* peri2_i2s3_src_clk,peri1_spi_ssi_clk */
					       <421478400>, <421478400>, /* peri2_spi_ssi_clk,peri1_qspi_ssi_clk */
					       <421478400>, <31610880>, /* peri2_qspi_ssi_clk,peri1_pdm_mclk */
					       <316108800>, <74250000>, /* peri1_tdm_src_clk,top_pad_sensor_vclk0_div */
					       <148500000>, <80000000>, /* top_pad_sensor_vclk1,peri1_hires_clk */
					       <80000000>, <786432000>, /* peri2_hires_clk,emmc_ref_clk */
					       <330000000>, <440000000>, /* peri1_mst_aclk,peri3_mst_aclk */
					       <377142858>; /* tee_clk */
			status = "okay";
		};
	};
};
